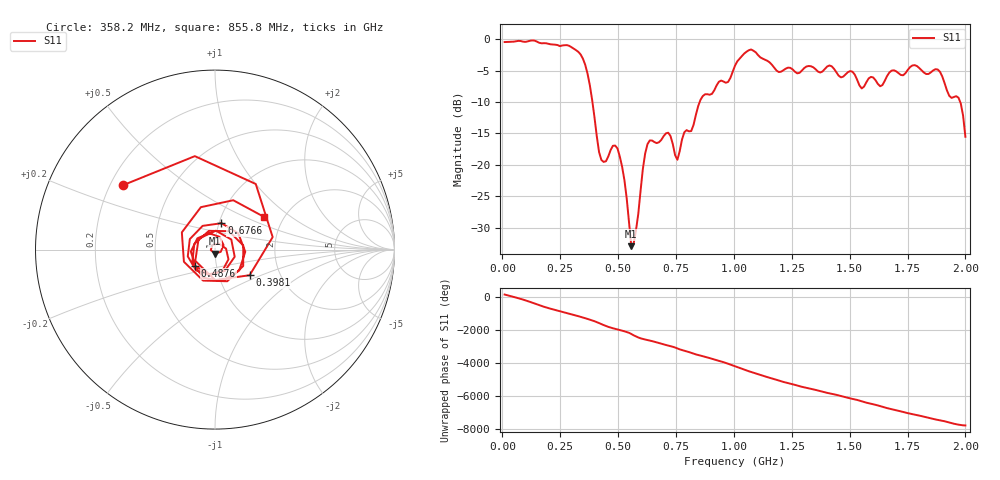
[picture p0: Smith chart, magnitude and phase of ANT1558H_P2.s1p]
!Created with skrf (http://scikit-rf.org).
# Hz S RI R 50.0
!freq ReS11 ImS11
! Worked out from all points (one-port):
!   201 points, 10 MHz to 2 GHz, reference 50 ohm
!   lowest |S11| = -33.0 dB at 557.2 MHz (marker M1), VSWR 1.05, Z = 49.9 - j2.24 ohm
!   |S11| at or under -10 dB: 389.3 MHz to 852.3 MHz (463 MHz wide, 74.6 % of centre); 1.978 GHz to end of sweep
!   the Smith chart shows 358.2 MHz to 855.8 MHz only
!   S11 on the Smith chart (normalised r, x): 358.2 MHz: 0.25, +0.30; 398.1 MHz: 1.40, -0.43; 487.6 MHz: 0.79, -0.15; 676.6 MHz: 1.03, +0.31; 855.8 MHz: 1.59, +0.65
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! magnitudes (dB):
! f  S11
! 10 MHz  -0.4
! 258.8 MHz  -1.0
! 358.2 MHz  -4.1
! 398.1 MHz  -12.4
! 427.9 MHz  -19.2
! 487.6 MHz  -16.9
! 507.5 MHz  -18.7
! 527.4 MHz  -22.4
! 557.2 MHz  -33.0
! 577.1 MHz  -30.5
! 607 MHz  -20.7
! 626.9 MHz  -16.7
! 676.6 MHz  -16.4
! 716.5 MHz  -14.9
! 756.2 MHz  -19.2
! 786.1 MHz  -14.8
! 816 MHz  -14.6
! 855.8 MHz  -9.7
! 1.005 GHz  -4.2
! 1.075 GHz  -1.6
! 1.254 GHz  -4.8
! 1.502 GHz  -5.1
! 1.552 GHz  -7.8
! 1.751 GHz  -4.9
! 1.891 GHz  -5.2
! 1.93 GHz  -9.0
! 1.98 GHz  -10.2
! 2 GHz  -15.5
